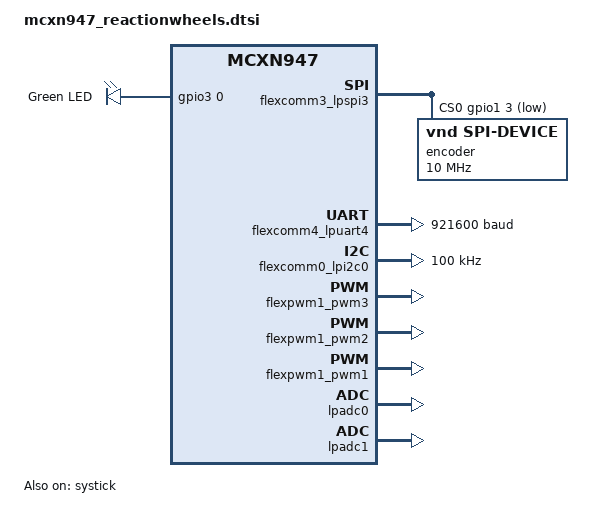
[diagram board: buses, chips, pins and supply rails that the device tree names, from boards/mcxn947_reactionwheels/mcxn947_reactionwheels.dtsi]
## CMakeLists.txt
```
# SPDX-License-Identifier: Apache-2.0

cmake_minimum_required(VERSION 3.20.0)

# The repository contains its own custom Zephyr board definition under boards/.
# BOARD_ROOT must be set before find_package(Zephyr).
list(APPEND BOARD_ROOT ${CMAKE_CURRENT_SOURCE_DIR})

find_package(Zephyr REQUIRED HINTS $ENV{ZEPHYR_BASE})

project(oresat_mcxn947_reactionwheels)

# =============================================================================
# Application entry point
#
# The root Kconfig choice guarantees that exactly one of these symbols is
# enabled. Each selected source file provides main().
# =============================================================================

if(CONFIG_RW_APP_PRODUCTION)
    target_sources(app PRIVATE
        src/main.c
    )

elseif(CONFIG_RW_APP_TEST_CALIBRATION)
    target_sources(app PRIVATE
        tests/bringup/testCalibration.c
    )

elseif(CONFIG_RW_APP_TEST_CURRENT_PREPROCESS)
    target_sources(app PRIVATE
        tests/bringup/testCurrentPreprocess.c
    )

elseif(CONFIG_RW_APP_TEST_DIRECT_RAMP)
    target_sources(app PRIVATE
        tests/bringup/testDirectRamp.c
    )

elseif(CONFIG_RW_APP_TEST_ENCODER)
    target_sources(app PRIVATE
        tests/bringup/testEncoder.c
    )

elseif(CONFIG_RW_APP_TEST_HAL)
    target_sources(app PRIVATE
        tests/bringup/testHAL.c
    )

elseif(CONFIG_RW_APP_TEST_PWM)
    target_sources(app PRIVATE
        tests/bringup/testPWM.c
    )

elseif(CONFIG_RW_APP_EXPERIMENT_DYNAMIC_RESPONSE)
    target_sources(app PRIVATE
        tests/experiments/DynamicResponseTest.c
    )

elseif(CONFIG_RW_APP_EXPERIMENT_POWER_RIPPLE)
    target_sources(app PRIVATE
        tests/experiments/PowerRippleTest.c
    )

elseif(CONFIG_RW_APP_EXPERIMENT_THERMAL_SOAK)
    target_sources(app PRIVATE
        tests/experiments/ThermalSoakTest.c
    )

elseif(CONFIG_RW_APP_EXPERIMENT_TORQUE_SPEED)
    target_sources(app PRIVATE
        tests/experiments/TorqueSpeedTest.c
    )

else()
    message(FATAL_ERROR
        "No reaction-wheel application entry point was selected"
    )
endif()

# =============================================================================
# Common firmware
#
# These modules are compiled for production, bring-up tests, and experiments.
# Sources are listed explicitly instead of using recursive globbing.
# =============================================================================

target_sources(app PRIVATE
    src/app/Fsm.c

    src/calibration/Calibration.c
    src/calibration/CalibrationStore.c

    src/comms/Od.c
    src/comms/Telemetry.c

    src/commutation/Commutation_Foc.c
    src/commutation/Commutation_OpenLoop.c
    src/commutation/Commutation_Sine.c
    src/commutation/Commutation_Trap.c

    src/control/Controller.c
    src/control/CurrentPreprocess.c

    src/hal/Encoder.c
    src/hal/HalAdc.c
    src/hal/HalInputMux.c
    src/hal/HalPwm.c
    src/hal/Hal_Zephyr.c

    src/math/BldcMath.c
    src/math/MathUtil.c
)

# =============================================================================
# Optional firmware modules
# =============================================================================

if(CONFIG_RW_CAN_COMMS)
    target_sources(app PRIVATE
        src/comms/CanComms.c
    )
endif()

# =============================================================================
# Header search paths
#
# Headers remain beside their implementation files. Existing short includes
# such as #include "Controller.h" can therefore remain unchanged.
# =============================================================================

target_include_directories(app PRIVATE
    ${CMAKE_CURRENT_SOURCE_DIR}/src/app
    ${CMAKE_CURRENT_SOURCE_DIR}/src/calibration
    ${CMAKE_CURRENT_SOURCE_DIR}/src/comms
    ${CMAKE_CURRENT_SOURCE_DIR}/src/commutation
    ${CMAKE_CURRENT_SOURCE_DIR}/src/config
    ${CMAKE_CURRENT_SOURCE_DIR}/src/control
    ${CMAKE_CURRENT_SOURCE_DIR}/src/hal
    ${CMAKE_CURRENT_SOURCE_DIR}/src/math
)
```

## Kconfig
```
# SPDX-License-Identifier: Apache-2.0

mainmenu "OreSat Reaction Wheel Firmware"

menu "Reaction wheel application"

choice RW_APPLICATION
	prompt "Application image"
	default RW_APP_PRODUCTION
	help
	  Select the firmware application entry point to compile.

	  Exactly one option is active. Production firmware, bring-up tests,
	  and experiment applications each provide their own main() function
	  and cannot be linked into the same image.

config RW_APP_PRODUCTION
	bool "Production firmware"
	help
	  Build the normal reaction-wheel firmware using src/main.c.

config RW_APP_TEST_CALIBRATION
	bool "Calibration bring-up test"
	help
	  Build tests/bringup/testCalibration.c.

config RW_APP_TEST_CURRENT_PREPROCESS
	bool "Current preprocessing bring-up test"
	help
	  Build tests/bringup/testCurrentPreprocess.c.

config RW_APP_TEST_DIRECT_RAMP
	bool "Direct-ramp integration test"
	help
	  Build tests/bringup/testDirectRamp.c.

config RW_APP_TEST_ENCODER
	bool "Encoder bring-up test"
	help
	  Build tests/bringup/testEncoder.c.

config RW_APP_TEST_HAL
	bool "HAL bring-up test"
	help
	  Build tests/bringup/testHAL.c.

config RW_APP_TEST_PWM
	bool "PWM bring-up test"
	help
	  Build tests/bringup/testPWM.c.

	  This image directly exercises the inverter PWM hardware and must only
	  be run with appropriate bench restraints and supply-current limits.

config RW_APP_EXPERIMENT_DYNAMIC_RESPONSE
	bool "Dynamic-response experiment"
	help
	  Build tests/experiments/DynamicResponseTest.c.

config RW_APP_EXPERIMENT_POWER_RIPPLE
	bool "Power and ripple experiment"
	help
	  Build tests/experiments/PowerRippleTest.c.

config RW_APP_EXPERIMENT_THERMAL_SOAK
	bool "Thermal-soak experiment"
	help
	  Build tests/experiments/ThermalSoakTest.c.

config RW_APP_EXPERIMENT_TORQUE_SPEED
	bool "Torque-speed experiment"
	help
	  Build tests/experiments/TorqueSpeedTest.c.

endchoice

endmenu

menu "Reaction wheel communication"

config RW_CAN_COMMS
	bool "Enable CAN communication integration"
	default n
	help
	  Compile src/comms/CanComms.c.

	  Leave this disabled until CAN and the intended Object Dictionary
	  integration are enabled and validated.

endmenu

source "Kconfig.zephyr"
```

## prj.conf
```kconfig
# =============================================================================
# Reaction-wheel optional modules
# =============================================================================

CONFIG_RW_CAN_COMMS=n


# =============================================================================
# CPU and memory protection
# =============================================================================

CONFIG_ARM_MPU=y
CONFIG_HW_STACK_PROTECTION=y
CONFIG_TRUSTED_EXECUTION_SECURE=y

CONFIG_CLOCK_CONTROL=y

CONFIG_FPU=y
CONFIG_FPU_SHARING=y
CONFIG_FP_HARDABI=y


# =============================================================================
# Console and UART
# =============================================================================

CONFIG_CONSOLE=y
CONFIG_UART_CONSOLE=y
CONFIG_STDOUT_CONSOLE=y
CONFIG_PRINTK=y

CONFIG_SERIAL=y
CONFIG_UART_INTERRUPT_DRIVEN=y
CONFIG_UART_ASYNC_API=y
CONFIG_UART_MCUX_LPUART=y

CONFIG_USE_SEGGER_RTT=n
CONFIG_RTT_CONSOLE=n


# =============================================================================
# Hardware drivers
# =============================================================================

CONFIG_GPIO=y
CONFIG_PWM=y
CONFIG_SPI=y
CONFIG_ADC=y


# =============================================================================
# Calibration persistence
# =============================================================================

CONFIG_FLASH=y
CONFIG_FLASH_MAP=y
CONFIG_NVS=y
CONFIG_CRC=y
CONFIG_MPU_ALLOW_FLASH_WRITE=y
```

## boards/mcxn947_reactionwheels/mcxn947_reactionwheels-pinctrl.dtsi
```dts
/*
 * Copyright 2025 NXP
 * All rights reserved.
 *
 * SPDX-License-Identifier: BSD-3-Clause
 */

#include <nxp/mcx/MCXN947VDF-pinctrl.h>

&pinctrl {
    pinmux_flexcan0: flexcan0 {
        group0 {
            pinmux = <CAN0_TXD_PIO1_10>,    /* CAN TX */
                     <CAN0_RXD_PIO1_11>;    /* CAN RX */
            drive-strength = "low";
            slew-rate = "fast";
            input-enable;
        };
    };

    pinmux_flexcomm4_lpuart: flexcomm4_lpuart {
        group0 {
            pinmux = <FC4_P0_PIO1_8>,           /* ISP UART RX */
                     <FC4_P1_PIO1_9>;           /* ISP UART TX */
            drive-strength = "low";
            slew-rate = "fast";
            input-enable;
        };
    };

    pinmux_flexcomm3_lpspi: flexcomm3_lpspi {
        group0 {
            pinmux = <FC3_P1_PIO1_1>,           /* SCK  (SCK) */
                     <FC3_P0_PIO1_0>,           /* MOSI (SDO) */
                     <FC3_P2_PIO1_2>,           /* MISO (SDI) */
                     <FC3_P3_PIO1_3>;           /* SPI nCS */
            drive-strength = "low";
            slew-rate = "fast";
            input-enable;
        };
    };

    /* Phase A (Submodule 3) */
    pinmux_flexpwm1_pwm3: flexpwm1_pwm3 {
        group0 {
            pinmux = <PWM1_A3_PIO2_0>,          /* Phase B High */
                     <PWM1_B3_PIO2_1>;          /* Phase B Low */
            drive-strength = "low";
            slew-rate = "fast";
            input-enable;
        };
    };

    /* Phase B (Submodule 2) */
    pinmux_flexpwm1_pwm2: flexpwm1_pwm2 {
        group0 {
            pinmux = <PWM1_A2_PIO2_2>,          /* Phase B High */
                     <PWM1_B2_PIO2_3>;          /* Phase B Low */
            drive-strength = "low";
            slew-rate = "fast";
            input-enable;
        };
    };

    /* Phase C (Submodule 1) */
    pinmux_flexpwm1_pwm1: flexpwm1_pwm1 {
        group0 {
            pinmux = <PWM1_A1_PIO2_4>,          /* Phase C High */
                     <PWM1_B1_PIO2_5>;          /* Phase C Low */
            drive-strength = "low";
            slew-rate = "fast";
            input-enable;
        };
    };

    pinmux_flexcomm0_lpi2c: flexcomm0_lpi2c {
        group0 {
            pinmux = <FC0_P1_PIO0_17>,          /* DEBUG RX (SDA) */
                     <FC0_P0_PIO0_16>;          /* DEBUG TX (SCL) */
            drive-strength = "low";
            slew-rate = "fast";
            input-enable;
            bias-pull-up;
            drive-open-drain;
        };
    };

    pinmux_gpios_1: gpios_1 {
        group0 {
            pinmux = <ISPMODE_N_PIO0_6>;        /* ISPMODE N */
            drive-strength = "low";
            bias-pull-up;
            slew-rate = "fast";
            input-enable;
        };
    };

    pinmux_swd: swd {
        group0 {
            pinmux = <SWDIO_PIO0_0>,            /* SWDIO */
                     <SWCLK_PIO0_1>,            /* SWCLK */
                     <SWO_PIO0_2>;              /* SWO */
            drive-strength = "low";     
            slew-rate = "fast";         
        };
    };

    pinmux_lpadc0: lpadc0 {                     /* ADC0_0 is pin ANA_0 (P3) which is PHA Isns. However the MCUX tool lists that as the pins only function  */
        group0 {                                /* ADC0_3 is pin ANA_6 (U2) which is VBUS Vsns. However the MCUX tool lists that as the pins only function  */
            pinmux = <ADC0_A4_PIO4_2>,          /* PHA Vsns */
				     <ADC0_A5_PIO4_12>,         /* PHB Vsns */
				     <ADC0_A6_PIO4_16>,         /* PHC Vsns */
				     <ADC0_A1_PIO4_15>,         /* PHB Isns */
				     <ADC0_A2_PIO4_23>;         /* PHC Isns */
            drive-strength = "low";
            slew-rate = "fast";
        };
    };

    pinmux_lpadc1: lpadc1 {
        group0 {
            pinmux = <ADC1_A12_PIO1_12>,        /* Thermistor Aux */
            		 <ADC1_A13_PIO1_13>,        /* Thermistor Phase A */
				     <ADC1_A14_PIO1_14>,        /* Thermistor Phase B */
                     <ADC1_A15_PIO1_15>;        /* Thermistor Phase C */
            drive-strength = "low";
            slew-rate = "fast";
        };
    };

    pinmux_led: green_led {
        group0 {
            pinmux = <PIO3_0>;                  /* Heartbeat LED */
            drive-strength = "low";
            slew-rate = "fast";
        };
    };

    pinmux_xtal48m: xtal48m {
        group0 {
            pinmux = <XTAL48M_PIO1_30>,         /* XTAL */
                     <EXTAL48M_PIO1_31>;        /* EXTAL */  
            drive-strength = "low";            
            slew-rate = "fast";               
        };
    };
};
```

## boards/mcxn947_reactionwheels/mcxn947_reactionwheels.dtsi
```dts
/*
 * Copyright 2024 NXP
 *
 * SPDX-License-Identifier: Apache-2.0
 */

#include "mcxn947_reactionwheels-pinctrl.dtsi"
#include <zephyr/dt-bindings/i2c/i2c.h>
#include <zephyr/dt-bindings/input/input-event-codes.h>

/ {
	aliases{
		led0 = &led_green;
	};

	gpio_leds {
		compatible = "gpio-leds";
		led_green: led_green {
			gpios = <&gpio3 0 GPIO_ACTIVE_HIGH>;
			label = "Green LED";
		};
	};
};

&pinmux_xtal48m {
	pinctrl-0 = <&pinmux_xtal48m>;
	pinctrl-names = "default";
	status = "okay";
};

&flexcomm3_lpspi3 {
    pinctrl-0 = <&pinmux_flexcomm3_lpspi>;
    pinctrl-names = "default";
    status = "okay";

    cs-gpios = <&gpio1 3 GPIO_ACTIVE_LOW>;

    encoder: encoder@0 {
        compatible = "vnd,spi-device";    /* <--- THIS IS THE MAGIC KEY */
        reg = <0>; /* CS pin 0 */
        spi-max-frequency = <10000000>; /* 10 MHz */
    };
};

&flexcomm4_lpuart4 {
	current-speed = <921600>;
	pinctrl-0 = <&pinmux_flexcomm4_lpuart>;
	pinctrl-names = "default";
	status = "okay";
};

&flexcomm0_lpi2c0 {
	pinctrl-0 = <&pinmux_flexcomm0_lpi2c>;
	pinctrl-names = "default";
	clock-frequency = <I2C_BITRATE_STANDARD>;
	status = "okay";
};

&os_timer {
	status = "disabled";
};

&systick {
	status = "okay";
};

&sram {
	sramg: memory@20050000 {
		compatible = "mmio-sram";
		reg = <0x20050000 DT_SIZE_K(64)>;
	};
	sramh: memory@20060000 {
		compatible = "mmio-sram";
		reg = <0x20060000 DT_SIZE_K(32)>;
	};
};

&flash {
	partitions {
		compatible = "fixed-partitions";
		#address-cells = <1>;
		#size-cells = <1>;

		/*
		 * Partition sizes must be aligned
		 * to the flash memory sector size of 8KB.
		 */
		boot_partition: partition@0 {
			label = "mcuboot";
			reg = <0x00000000 DT_SIZE_K(80)>;
		};
		slot0_partition: partition@14000 {
			label = "image-0";
			reg = <0x00014000 DT_SIZE_K(984)>;
		};
		slot1_partition: partition@10A000 {
			label = "image-1";
			reg = <0x0010A000 DT_SIZE_K(968)>;
		};
		storage_partition: partition@1FC000 {
			label = "storage";
			reg = <0x001FC000 DT_SIZE_K(16)>;
		};
	};
};

/* Submodule 3 = Phase A (Channels 6/7) */
&flexpwm1_pwm3 {
    status = "okay";
    pinctrl-0 = <&pinmux_flexpwm1_pwm3>;
    pinctrl-names = "default";
};

/* Submodule 2 = Phase B (Channels 4/5) */
&flexpwm1_pwm2 {
    status = "okay";
    pinctrl-0 = <&pinmux_flexpwm1_pwm2>;
    pinctrl-names = "default";
};

/* Submodule 1 = Phase C (Channels 2/3) */
&flexpwm1_pwm1 {
    status = "okay";
    pinctrl-0 = <&pinmux_flexpwm1_pwm1>;
    pinctrl-names = "default";
};

&lpadc0 {
	pinctrl-0 = <&pinmux_lpadc0>;
	pinctrl-names = "default";
	status = "okay";
};

&lpadc1 {
	status = "okay";
	pinctrl-0 = <&pinmux_lpadc1>;
	pinctrl-names = "default";
};

&flexcan0 {
	pinctrl-0 = <&pinmux_flexcan0>;
	pinctrl-names = "default";
};
```

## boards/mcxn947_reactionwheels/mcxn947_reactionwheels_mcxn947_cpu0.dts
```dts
/dts-v1/;

#include "mcxn947_reactionwheels_mcxn947_cpu0.dtsi"
#include "mcxn947_reactionwheels-pinctrl.dtsi"
#include "mcxn947_reactionwheels.dtsi"

/ {
	model = "NXP MCXN947 Reaction Wheel Control Board";
	compatible = "nxp,mcxn947", "nxp,mcx";
};
```

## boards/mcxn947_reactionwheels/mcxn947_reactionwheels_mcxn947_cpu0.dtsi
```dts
/*
 * Copyright 2024 NXP
 *
 * SPDX-License-Identifier: Apache-2.0
 */

/*
 * This is the top-level devicetree file for the CPU0 core.
 * It enables all the peripherals required for your application.
 */
/dts-v1/;

#include <nxp/nxp_mcxn94x.dtsi>
#include "mcxn947_reactionwheels.dtsi"

/ {
	/* Disable the second CPU core */
	cpus {
		/delete-node/ cpu@1;
	};

	/* Define the default peripherals for Zephyr */
	chosen {
		zephyr,sram = &sram0;
		zephyr,flash = &flash;
		zephyr,flash-controller = &fmu;
		zephyr,code-partition = &slot0_partition;
		zephyr,uart-mcumgr = &flexcomm4_lpuart4;
		zephyr,console = &flexcomm4_lpuart4;
		zephyr,shell-uart = &flexcomm4_lpuart4;
		zephyr,canbus = &flexcan0;
		zephyr,code-cpu1-partition = &slot1_partition;
	};

	/* Define common aliases */
    aliases {
        watchdog0 = &wwdt0;
        pwm-a = &flexpwm1_pwm3; /* Motor Phase A */
        pwm-b = &flexpwm1_pwm2; /* Motor Phase B */
        pwm-c = &flexpwm1_pwm1; /* Motor Phase C */
        rtc = &rtc;
		adc0 = &lpadc0;
		adc1 = &lpadc1;
    };
};

/* Define the SRAM region for this core */
&sram0 {
	compatible = "mmio-sram";
	reg = <0x20000000 DT_SIZE_K(320)>;
};

/* --- Enable GPIO Ports --- */
/* We enable all ports that have pins defined in your pinctrl file */
&gpio0 {
	status = "okay";
};
&gpio1 {
	status = "okay";
};
&gpio2 {
	status = "okay";
};
&gpio3 {
	status = "okay";
};
&gpio4 {
	status = "okay";
};

/* --- Enable Board-Specific Hardware --- */

&led_green {
	status = "okay";
};

&edma0 {
	status = "okay"; // DMA is needed for many peripherals
};

/* --- Enable Peripherals --- */

/* I2C (Flexcomm 0) */
&flexcomm0 {
	status = "okay";
};
&flexcomm0_lpi2c0 {
	status = "okay";
};

/* SPI (Flexcomm 3) */
&flexcomm3 {
	status = "okay";
};
&flexcomm3_lpspi3 {
	status = "okay";
};

/* Console UART (Flexcomm 4) */
&flexcomm4 {
	status = "okay";
};

&flexcomm4_lpuart4 {
	status = "okay";
};

&flexpwm1_pwm1 {
    status = "okay";
};

&flexpwm1_pwm2 {
    status = "okay";
};

&flexpwm1_pwm3 {
    status = "okay";
};

/* CAN (FlexCAN 0) */
&flexcan0 {
	status = "okay";
};

&vref {
    status = "okay";
};

/* ADC (LPADC 0) */
&lpadc0 {
	status = "okay";
};

/* ADC (LPADC 1) */
&lpadc1 {
	status = "okay";
};

&enet {
    status = "disabled";
};
```

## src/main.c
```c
/*
 * 2026 Portland State Aerospace Society
 * SPDX-License-Identifier: Apache-2.0
 *
 * OreSat Reaction Wheel Controller
 * Production firmware entry point for the V2 controller board.
 */

#include <zephyr/kernel.h>
#include <zephyr/sys/printk.h>

#include "CanComms.h"
#include "Controller.h"
#include "Fsm.h"
#include "Telemetry.h"

/*==============================================================================
 * APPLICATION CONFIGURATION
 *============================================================================*/

#define CONTROL_THREAD_STACK_SIZE            3072
#define CONTROL_THREAD_PRIORITY              K_PRIO_PREEMPT(0)

#define SUPERVISOR_THREAD_STACK_SIZE         2048
#define SUPERVISOR_THREAD_PRIORITY           K_PRIO_PREEMPT(1)

/*
 * The supervisor owns only coarse lifecycle and command translation. A 100 Hz
 * rate is sufficient for arming, disarming, setpoint updates, and fault
 * reporting while keeping all non-control work out of the 16 kHz path.
 */
#define SUPERVISOR_PERIOD                    K_MSEC(10)

/*==============================================================================
 * THREAD STORAGE
 *============================================================================*/

K_THREAD_STACK_DEFINE(
    s_controlThreadStack,
    CONTROL_THREAD_STACK_SIZE);

static struct k_thread s_controlThread;

K_THREAD_STACK_DEFINE(
    s_supervisorThreadStack,
    SUPERVISOR_THREAD_STACK_SIZE);

static struct k_thread s_supervisorThread;

/*==============================================================================
 * HIGH-SPEED CONTROL EXECUTION
 *============================================================================*/

/*
 * Controller_Update16kHz() owns the complete deterministic motor-control cycle.
 * Its HAL acquisition path is synchronized to the 16 kHz PWM/ADC hardware
 * trigger; main.c must not add sleeps, UART transmission, CAN processing,
 * control mathematics, or application policy to this loop.
 *
 * Telemetry_Update16kHz() performs only bounded trigger polling and decimated
 * packet enqueueing. UART transmission remains owned by the asynchronous UART
 * callback and therefore cannot block the control path.
 */
static void ControlThreadEntry(
    void *arg1,
    void *arg2,
    void *arg3)
{
    ARG_UNUSED(arg1);
    ARG_UNUSED(arg2);
    ARG_UNUSED(arg3);

    while (true)
    {
        Controller_Update16kHz();
        Telemetry_Update16kHz();
    }
}

/*==============================================================================
 * LOW-RATE SUPERVISION
 *============================================================================*/

static void SupervisorThreadEntry(
    void *arg1,
    void *arg2,
    void *arg3)
{
    ARG_UNUSED(arg1);
    ARG_UNUSED(arg2);
    ARG_UNUSED(arg3);

    while (true)
    {
        /*
         * NOTE:
         * CAN/CANopen is the intended production flight command and telemetry
         * interface, but it is currently non-functional on the V2 hardware and
         * has not yet been validated. These translation calls are intentionally
         * retained so the production architecture remains correct. They do not
         * make the CAN transport operational; CAN hardware/stack bring-up and
         * end-to-end validation are still required before flight use.
         */
        CanComms_ProcessCommands();

        /*
         * The FSM alone owns arming, disarming, calibration sequencing, normal
         * closed-loop entry, and latched-fault lifecycle policy.
         */
        FsmUpdate();

        /*
         * NOTE:
         * This updates the Object Dictionary only. CAN transmission is currently
         * non-functional and requires separate hardware/stack validation.
         */
        CanComms_UpdateTelemetry();

        k_sleep(SUPERVISOR_PERIOD);
    }
}

/*==============================================================================
 * THREAD CREATION
 *============================================================================*/

static int StartProductionThreads(void)
{
    k_tid_t controlThreadId = k_thread_create(
        &s_controlThread,
        s_controlThreadStack,
        K_THREAD_STACK_SIZEOF(s_controlThreadStack),
        ControlThreadEntry,
        NULL,
        NULL,
        NULL,
        CONTROL_THREAD_PRIORITY,
        0,
        K_NO_WAIT);

    if (controlThreadId == NULL)
    {
        return -1;
    }

    (void)k_thread_name_set(controlThreadId, "rw_control_16khz");

    k_tid_t supervisorThreadId = k_thread_create(
        &s_supervisorThread,
        s_supervisorThreadStack,
        K_THREAD_STACK_SIZEOF(s_supervisorThreadStack),
        SupervisorThreadEntry,
        NULL,
        NULL,
        NULL,
        SUPERVISOR_THREAD_PRIORITY,
        0,
        K_NO_WAIT);

    if (supervisorThreadId == NULL)
    {
        /*
         * The controller was initialized in idle and all PWM outputs remain
         * disabled. Abort application startup rather than operating without
         * lifecycle supervision.
         */
        Controller_SetControlMode(CTRL_MODE_IDLE);
        return -2;
    }

    (void)k_thread_name_set(supervisorThreadId, "rw_supervisor");

    return 0;
}

/*==============================================================================
 * MAIN
 *============================================================================*/

int main(void)
{
    printk("\n[RW] OreSat V2 production firmware\n");

    /*
     * Controller_Init() initializes the complete V2 HAL, disables inverter
     * outputs, initializes current preprocessing, loads validated persisted
     * calibration when available, resets controller state, and selects FOC as
     * the default commutation strategy. It must complete before either runtime
     * execution context begins.
     */
    Controller_Init();

    /*
     * Restate the production-safe initial command explicitly at the application
     * boundary. No motor actuation is permitted merely because firmware booted.
     */
    Controller_SetCommutationMode(COMM_MODE_FOC);
    Controller_SetVelocity(0.0f);
    Controller_SetControlMode(CTRL_MODE_IDLE);

    /*
     * The current telemetry implementation reads the V2 HAL phase-voltage and
     * phase-temperature caches directly. V2 measurements are therefore the
     * authoritative runtime values; legacy packet fields remain only for host
     * compatibility.
     *
     * UART telemetry starts disabled. It may be enabled by an approved ground
     * interface without placing UART transmission in the fast loop.
     */
    Telemetry_Init();
    Telemetry_Enable(false);
    Telemetry_SetCommutationMode((uint8_t)COMM_MODE_FOC);
    Telemetry_SetExperimentStatus(TELEMETRY_EXPERIMENT_IDLE);
    Telemetry_SetFaultCode(TELEMETRY_FAULT_NONE);

    /*
     * Initialize supervision before commands can be translated. The FSM starts
     * in BOOT and remains responsible for all subsequent lifecycle transitions.
     */
    FsmInit();

    /*
     * NOTE:
     * CAN/CANopen is intentionally initialized because it is the production
     * flight interface and establishes safe Object Dictionary defaults.
     * CAN is currently non-functional on the V2 hardware and must not be treated
     * as a validated command or telemetry path until hardware/stack bring-up and
     * end-to-end testing are complete.
     */
    CanComms_Init();

    int result = StartProductionThreads();
    if (result != 0)
    {
        Controller_SetControlMode(CTRL_MODE_IDLE);
        printk("[RW][FAULT] Runtime thread startup failed: %d\n", result);
        return result;
    }

    printk("[RW] Initialized in safe state; awaiting supervisor commands\n");
    printk("[RW][WARN] CAN/CANopen is present but not operational\n");

    /*
     * All production work is owned by the control and supervisor contexts.
     * Keeping main blocked avoids accidental application-level control policy.
     */
    while (true)
    {
        k_sleep(K_FOREVER);
    }

    return 0;

}
```
